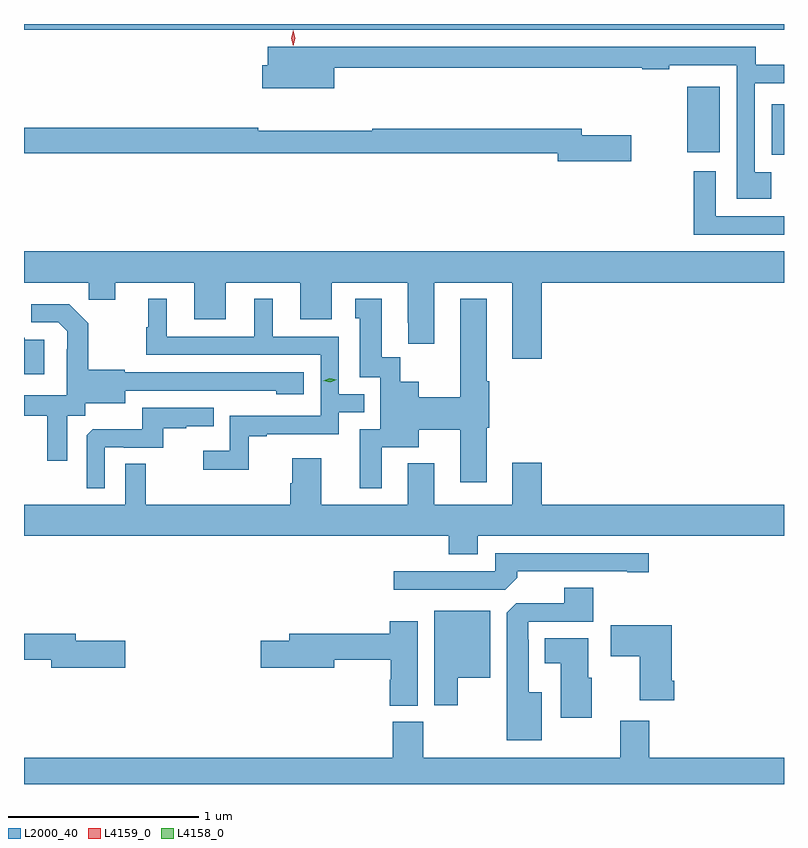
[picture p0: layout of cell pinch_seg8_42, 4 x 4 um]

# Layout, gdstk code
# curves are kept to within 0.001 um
import gdstk
lib = gdstk.Library(unit=1e-6, precision=1e-09)
def R(c, l, rs):  # rectangles x0, y0, x1, y1
    for r in rs: c.add(gdstk.rectangle(r[:2], r[2:], *l))
def P(c, l, *ps):  # polygons
    for p in ps: c.add(gdstk.Polygon(p, *l))
L2000_40 = (2000, 40)
L4158_0 = (4158, 0)
L4159_0 = (4159, 0)

pinch_seg8_42 = lib.new_cell('pinch_seg8_42')
R(pinch_seg8_42, L2000_40, [(961.232,1130.492,961.296,1130.758), (960.788,1130.507,960.958,1130.851), (957.296,1131.152,961.296,1131.181)])
P(pinch_seg8_42, L2000_40, [(961.228,1130.401),(961.143,1130.401),(961.143,1130.868),(961.296,1130.868),(961.296,1130.966),(961.146,1130.966),(961.146,1131.06),(958.826,1131.06),(958.826,1131.061),(958.58,1131.061),(958.58,1130.965),(958.55,1130.965),(958.55,1130.843),(958.93,1130.843),(958.93,1130.952),(960.55,1130.952),(960.55,1130.944),(960.692,1130.944),(960.692,1130.964),(961.047,1130.964),(961.047,1130.261),(961.228,1130.261)],
  [(960.493,1130.595),(960.232,1130.595),(960.232,1130.629),(959.128,1130.629),(959.128,1130.619),(958.528,1130.619),(958.528,1130.636),(957.296,1130.636),(957.296,1130.5),(960.104,1130.5),(960.104,1130.458),(960.493,1130.458)],
  [(961.296,1130.169),(960.936,1130.169),(960.936,1130.407),(960.82,1130.407),(960.82,1130.073),(961.296,1130.073)],
  [(960.02,1129.82),(961.296,1129.82),(961.296,1129.984),(957.296,1129.984),(957.296,1129.82),(957.637,1129.82),(957.637,1129.73),(957.775,1129.73),(957.775,1129.82),(958.193,1129.82),(958.193,1129.626),(958.357,1129.626),(958.357,1129.82),(958.751,1129.82),(958.751,1129.626),(958.915,1129.626),(958.915,1129.82),(959.315,1129.82),(959.315,1129.609),(959.318,1129.609),(959.318,1129.497),(959.455,1129.497),(959.455,1129.82),(959.867,1129.82),(959.867,1129.419),(960.02,1129.419)],
  [(958.479,1129.011),(958.573,1129.011),(958.573,1129.023),(958.953,1129.023),(958.953,1129.137),(959.086,1129.137),(959.086,1129.233),(958.953,1129.233),(958.953,1129.536),(958.606,1129.536),(958.606,1129.735),(958.508,1129.735),(958.508,1129.536),(958.048,1129.536),(958.048,1129.735),(957.95,1129.735),(957.95,1129.584),(957.939,1129.584),(957.939,1129.44),(958.857,1129.44),(958.857,1129.119),(958.38,1129.119),(958.38,1128.934),(958.239,1128.934),(958.239,1128.836),(958.479,1128.836)],
  [(959.179,1128.953),(959.374,1128.953),(959.374,1129.045),(959.591,1129.045),(959.591,1128.768),(959.731,1128.768),(959.731,1129.056),(959.744,1129.056),(959.744,1129.3),(959.731,1129.3),(959.731,1129.735),(959.591,1129.735),(959.591,1129.217),(959.374,1129.217),(959.374,1129.297),(959.277,1129.297),(959.277,1129.427),(959.179,1129.427),(959.179,1129.735),(959.039,1129.735),(959.039,1129.632),(959.063,1129.632),(959.063,1129.323),(959.172,1129.323),(959.172,1129.047),(959.063,1129.047),(959.063,1128.738),(959.179,1128.738)],
  [(957.523,1129.12),(957.618,1129.12),(957.618,1129.184),(957.829,1129.184),(957.829,1129.251),(958.623,1129.25),(958.623,1129.232),(958.768,1129.232),(958.768,1129.347),(957.825,1129.347),(957.825,1129.36),(957.633,1129.36),(957.633,1129.605),(957.533,1129.705),(957.333,1129.705),(957.333,1129.611),(957.477,1129.611),(957.524,1129.564),(957.524,1129.469),(957.522,1129.469),(957.522,1129.228),(957.296,1129.228),(957.296,1129.118),(957.419,1129.118),(957.419,1128.882),(957.523,1128.882)],
  [(957.403,1129.518),(957.299,1129.518),(957.299,1129.531),(957.296,1129.531),(957.296,1129.338),(957.403,1129.338)],
  [(957.72,1128.954),(957.82,1128.954),(957.82,1128.951),(958.028,1128.951),(958.028,1129.053),(958.151,1129.053),(958.151,1129.064),(958.295,1129.064),(958.295,1129.161),(957.918,1129.161),(957.918,1129.049),(957.659,1129.049),(957.627,1129.017),(957.627,1128.737),(957.72,1128.737)],
  [(959.683,1128.488),(961.296,1128.488),(961.296,1128.652),(960.02,1128.652),(960.02,1128.871),(959.867,1128.871),(959.867,1128.652),(959.455,1128.652),(959.455,1128.868),(959.315,1128.868),(959.315,1128.652),(958.861,1128.652),(958.861,1128.895),(958.709,1128.895),(958.709,1128.765),(958.697,1128.765),(958.697,1128.652),(957.937,1128.652),(957.937,1128.866),(957.828,1128.866),(957.828,1128.652),(957.296,1128.652),(957.296,1128.488),(959.531,1128.488),(959.531,1128.389),(959.683,1128.389)],
  [(959.891,1128.266),(959.891,1128.3),(960.47,1128.3),(960.47,1128.295),(960.583,1128.295),(960.583,1128.396),(959.775,1128.396),(959.775,1128.3),(959.241,1128.3),(959.241,1128.204),(959.829,1128.204)],
  [(960.022,1127.665),(959.953,1127.665),(959.953,1127.939),(959.949,1127.939),(959.949,1128.036),(960.293,1128.036),(960.293,1128.215),(960.14,1128.215),(960.14,1128.132),(959.886,1128.132),(959.837,1128.083),(959.837,1127.411),(960.022,1127.411)],
  [(959.578,1127.741),(959.749,1127.741),(959.749,1128.094),(959.456,1128.094),(959.456,1127.595),(959.578,1127.595)],
  [(959.368,1128.037),(959.222,1128.037),(959.222,1127.972),(958.691,1127.972),(958.691,1127.936),(958.542,1127.936),(958.542,1127.794),(958.93,1127.794),(958.93,1127.836),(959.227,1127.836),(959.227,1127.729),(959.222,1127.729),(959.222,1127.593),(959.368,1127.593)],
  [(960.719,1127.725),(960.706,1127.725),(960.706,1128.016),(960.384,1128.016),(960.384,1127.854),(960.536,1127.854),(960.536,1127.621),(960.719,1127.621)],
  [(957.829,1127.936),(957.568,1127.936),(957.568,1127.972),(957.296,1127.972),(957.296,1127.836),(957.44,1127.836),(957.44,1127.794),(957.829,1127.794)],
  [(960.283,1127.739),(960.265,1127.739),(960.265,1127.947),(960.038,1127.947),(960.038,1127.816),(960.122,1127.816),(960.122,1127.529),(960.283,1127.529)],
  [(961.296,1127.32),(960.587,1127.32),(960.587,1127.515),(960.434,1127.515),(960.434,1127.32),(959.397,1127.32),(959.397,1127.508),(959.237,1127.508),(959.237,1127.32),(957.296,1127.32),(957.296,1127.181),(961.296,1127.181)])
P(pinch_seg8_42, L4158_0, [(958.907,1129.296),(958.872,1129.303),(958.872,1129.304),(958.872,1129.304),(958.906,1129.316),(958.941,1129.308),(958.941,1129.308),(958.941,1129.308)])
P(pinch_seg8_42, L4159_0, [(958.713,1131.067),(958.713,1131.067),(958.703,1131.107),(958.713,1131.147),(958.713,1131.147),(958.713,1131.147),(958.723,1131.107),(958.713,1131.067)])

lib.write_gds('pinch_seg8_42.gds')
